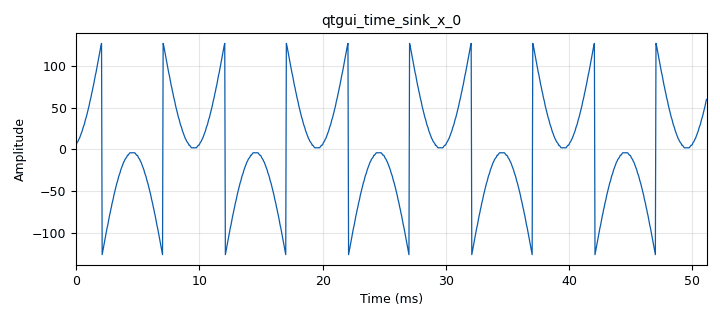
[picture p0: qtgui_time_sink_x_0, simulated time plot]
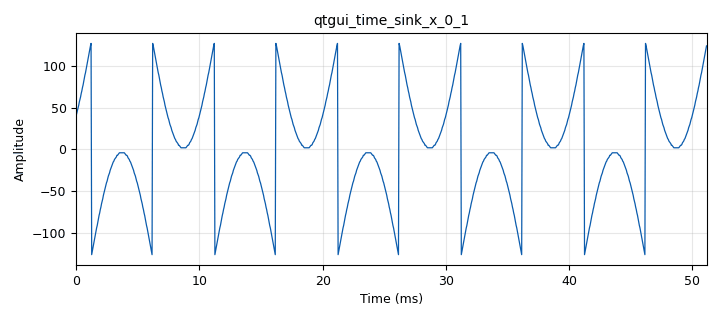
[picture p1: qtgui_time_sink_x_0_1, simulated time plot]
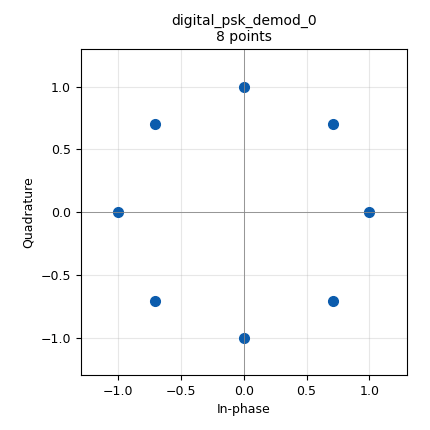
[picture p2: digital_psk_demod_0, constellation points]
options:
  parameters:
    author: sten
    generate_options: qt_gui
    id: Labo_8
    output_language: python
    title: Oefening 3
  states: {}

blocks:
- name: afstand
  id: variable_qtgui_range
  parameters:
    start: '0.01'
    step: '0.01'
    stop: '2'
    value: '0.01'
  states: {}
- name: samp_rate
  id: variable
  parameters:
    value: '20000'
  states: {}
- name: analog_sig_source_x_0
  id: analog_sig_source_x
  parameters:
    amp: '126'
    freq: '100'
    offset: '127'
    phase: '0'
    samp_rate: samp_rate
    type: byte
    waveform: analog.GR_SIN_WAVE
  states: {}
- name: blocks_char_to_float_0
  id: blocks_char_to_float
  parameters:
    scale: '1'
  states: {}
- name: blocks_char_to_float_0_0
  id: blocks_char_to_float
  parameters:
    scale: '1'
  states: {}
- name: blocks_delay_0
  id: blocks_delay
  parameters:
    delay: '4'
    type: byte
  states: {}
- name: blocks_throttle2_0
  id: blocks_throttle2
  parameters:
    samples_per_second: samp_rate
    type: byte
  states: {}
- name: blocks_unpacked_to_packed_xx_0
  id: blocks_unpacked_to_packed_xx
  parameters:
    bits_per_chunk: '1'
    endianness: gr.GR_MSB_FIRST
    type: byte
  states: {}
- name: channels_channel_model_0
  id: channels_channel_model
  parameters:
    epsilon: '1.0'
    freq_offset: '0.0'
    noise_voltage: afstand
    seed: '0'
    taps: '1.0'
  states: {}
- name: digital_psk_demod_0
  id: digital_psk_demod
  parameters:
    constellation_points: '8'
    differential: 'True'
    excess_bw: '0.35'
    freq_bw: 6.28/100.0
    mod_code: '"gray"'
    phase_bw: 6.28/100.0
    samples_per_symbol: '2'
    timing_bw: 6.28/100.0
  states: {}
- name: digital_psk_mod_0
  id: digital_psk_mod
  parameters:
    constellation_points: '8'
    differential: 'True'
    excess_bw: '0.35'
    mod_code: '"gray"'
    samples_per_symbol: '2'
  states: {}
- name: qtgui_time_sink_x_0
  id: qtgui_time_sink_x
  parameters:
    autoscale: 'True'
    size: '1024'
    srate: samp_rate
    type: float
  states: {}
- name: qtgui_time_sink_x_0_1
  id: qtgui_time_sink_x
  parameters:
    autoscale: 'True'
    size: '1024'
    srate: samp_rate
    type: float
  states: {}
- name: virtual_sink_0
  id: virtual_sink
  parameters:
    stream_id: demoded_signal
  states: {}
- name: virtual_source_0
  id: virtual_source
  parameters:
    stream_id: demoded_signal
  states: {}

connections:
- [analog_sig_source_x_0, '0', blocks_throttle2_0, '0']
- [blocks_char_to_float_0, '0', qtgui_time_sink_x_0, '0']
- [blocks_char_to_float_0_0, '0', qtgui_time_sink_x_0_1, '0']
- [blocks_delay_0, '0', virtual_sink_0, '0']
- [blocks_throttle2_0, '0', blocks_char_to_float_0_0, '0']
- [blocks_throttle2_0, '0', digital_psk_mod_0, '0']
- [blocks_unpacked_to_packed_xx_0, '0', blocks_char_to_float_0, '0']
- [channels_channel_model_0, '0', digital_psk_demod_0, '0']
- [digital_psk_demod_0, '0', blocks_delay_0, '0']
- [digital_psk_mod_0, '0', channels_channel_model_0, '0']
- [virtual_source_0, '0', blocks_unpacked_to_packed_xx_0, '0']

metadata:
  file_format: 1
  grc_version: 3.10.7.0
